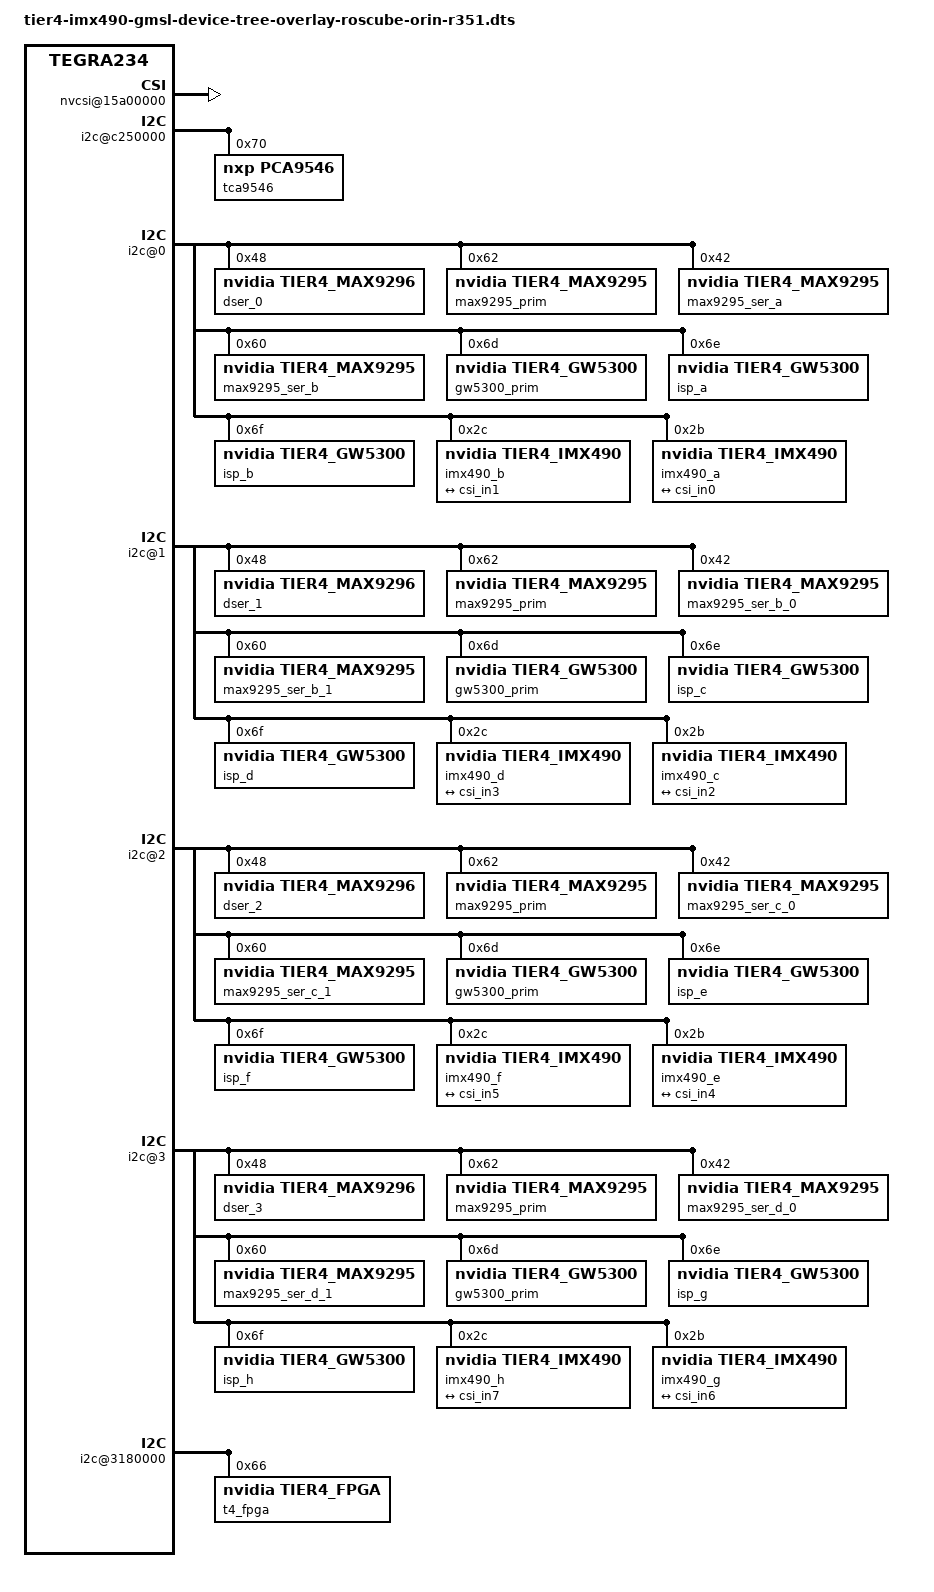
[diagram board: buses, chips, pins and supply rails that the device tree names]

/dts-v1/;
/plugin/;
 
/ {
    overlay-name = "TIERIV IMX490 GMSL2 Camera Device Tree Overlay";
    jetson-header-name = "Jetson AGX CSI Connector";
    compatible = "nvidia,p3737-0000+p3701-0000", "nvidia,tegra234", "nvidia,tegra23x";

// ----- for VI -----

  fragment@1{
    target-path = "/tegra-capture-vi";
    __overlay__ {
      status = "okay";
      num-channels = <0x08>;
    };
  };

//diff view
  fragment@2{
    target-path = "/tegra-capture-vi/ports/port@0";
    __overlay__ {
      status = "okay";
    };
  };

  fragment@3{
    // target = vi_in0;
    target-path = "/tegra-capture-vi/ports/port@0/endpoint";
    __overlay__ {
      status = "okay";
      port-index = <0>;
      vc-id = <0>;
      bus-width = <4>;
      retmote-endpoint = <&csi_out0>;
    };
  };

  fragment@4{
    target-path = "/tegra-capture-vi/ports/port@1";
    __overlay__ {
      status = "okay";
    };
  };

  fragment@5{
    // target = vi_in1;
    target-path = "/tegra-capture-vi/ports/port@1/endpoint";
    __overlay__ {
      status = "okay";
      vc-id = <1>;
      port-index = <0>;
      bus-width = <4>;
      retmote-endpoint = <&csi_out1>;
    };
  };

  fragment@6{
    target-path = "/tegra-capture-vi/ports/port@2";
    __overlay__ {
      status = "okay";
    };
  };

  fragment@7{
    // target = vi_in2;
    target-path = "/tegra-capture-vi/ports/port@2/endpoint";
    __overlay__ {
      status = "okay";
      vc-id = <0>;
      port-index = <2>;
      bus-width = <4>;
      retmote-endpoint = <&csi_out2>;
    };
  };

  fragment@8 {
    target-path = "/tegra-capture-vi/ports/port@3";
    __overlay__ {
      status = "okay";
    };
  };

  fragment@9 {
    // target = vi_in3;
    target-path = "/tegra-capture-vi/ports/port@3/endpoint";
    __overlay__ {
      status = "okay";
      vc-id = <1>;
      port-index = <2>;
      bus-width = <4>;
      retmote-endpoint = <&csi_out3>;
    };
  };

  fragment@10 {
    target-path = "/tegra-capture-vi/ports/port@4";
    __overlay__ {
      status = "okay";
    };
  };

  fragment@11 {
    // target = vi_in4;
    target-path = "/tegra-capture-vi/ports/port@4/endpoint";
    __overlay__ {
      status = "okay";
      vc-id = <0>;
      port-index = <4>;
      bus-width = <4>;
      retmote-endpoint = <&csi_out4>;
    };
  };

  fragment@12 {
    target-path = "/tegra-capture-vi/ports/port@5";
    __overlay__ {
      status = "okay";
    };
  };

  fragment@13 {
    // target = vi_in5;
    target-path = "/tegra-capture-vi/ports/port@5/endpoint";
    __overlay__ {
      status = "okay";
      vc-id = <1>;
      port-index = <4>;
      bus-width = <4>;
      retmote-endpoint = <&csi_out5>;
    };
  };

  fragment@14 {
    target-path = "/tegra-capture-vi/ports/port@6";
    __overlay__ {
      status = "okay";
    };
  };

  fragment@15 {
    // target = vi_in6;
    target-path = "/tegra-capture-vi/ports/port@6/endpoint";
    __overlay__ {
      status = "okay";
      vc-id = <0>;
      port-index = <5>;
      bus-width = <4>;
      retmote-endpoint = <&csi_out6>;
    };
  };

  fragment@16 {
    target-path = "/tegra-capture-vi/ports/port@7";
    __overlay__ {
      status = "okay";
    };
  };

  fragment@17 {
    // target = vi_in7;
    target-path = "/tegra-capture-vi/ports/port@7/endpoint";
    __overlay__ {
      status = "okay";
      vc-id = <1>;
      port-index = <5>;
      bus-width = <4>;
      retmote-endpoint = <&csi_out7>;
    };
  };

// -----   NVCSI  ------

// channel@0

  fragment@20 {
    target-path = "/host1x@13e00000/nvcsi@15a00000/channel@0";
    __overlay__ {
      status = "okay";
    };
  };

  fragment@21 {
    target-path = "/host1x@13e00000/nvcsi@15a00000/channel@0/ports/port@0";
    __overlay__ {
      status = "okay";
    };
  };
  fragment@22 {
    // target = csi_in0
    target-path = "/host1x@13e00000/nvcsi@15a00000/channel@0/ports/port@0/endpoint@0";
    __overlay__ {
      status = "okay";
      port-index = <0>;
      bus-width = <4>;
      remote-endpoint = <&imx490_out0>;
    };
  };

  fragment@23 {
    target-path = "/host1x@13e00000/nvcsi@15a00000/channel@0/ports/port@1";
    __overlay__ {
      status = "okay";
    };
  };

  fragment@24 {
    // target = csi_out0
    target-path = "/host1x@13e00000/nvcsi@15a00000/channel@0/ports/port@1/endpoint@1";
    __overlay__ {
      status = "okay";
      remote-endpoint = <&vi_in0>;
    };
  };

// channel@1

  fragment@25 {
    target-path = "/host1x@13e00000/nvcsi@15a00000/channel@1";
    __overlay__ {
      status = "okay";
    };
  };

  fragment@26 {
    target-path = "/host1x@13e00000/nvcsi@15a00000/channel@1/ports/port@0";
    __overlay__ {
      status = "okay";
    };
  };

  fragment@27 {
    // target = csi_in1
    target-path = "/host1x@13e00000/nvcsi@15a00000/channel@1/ports/port@0/endpoint@0";
    __overlay__ {
      status = "okay";
      port-index = <0x00>;
      bus-width = <4>;
      remote-endpoint = <&imx490_out1>;
    };
  };

  fragment@28 {
    // target = csi_out1
    target-path = "/host1x@13e00000/nvcsi@15a00000/channel@1/ports/port@1/endpoint@1";
    __overlay__ {
      status = "okay";
      remote-endpoint = <&vi_in1>;
    };
  };

// channel@2

  fragment@29 {
    target-path = "/host1x@13e00000/nvcsi@15a00000/channel@2";
    __overlay__ {
      status = "okay";
    };
  };

  fragment@30 {
    target-path = "/host1x@13e00000/nvcsi@15a00000/channel@2/ports/port@0";
    __overlay__ {
      status = "okay";
    };
  };

  fragment@31 {
    // target = csi_in2
    target-path = "/host1x@13e00000/nvcsi@15a00000/channel@2/ports/port@0/endpoint@0";
    __overlay__ {
      status = "okay";
      port-index = <2>;
      bus-width = <4>;
      remote-endpoint = <&imx490_out2>;
    };
  };

  fragment@32 {
    target-path = "/host1x@13e00000/nvcsi@15a00000/channel@2/ports/port@1";
    __overlay__ {
      status = "okay";
    };
  };

  fragment@33 {
    // target = csi_out2
    target-path = "/host1x@13e00000/nvcsi@15a00000/channel@2/ports/port@1/endpoint@1";
    __overlay__ {
      status = "okay";
      remote-endpoint = <&vi_in2>;
    };
  };

// channel@3

  fragment@34 {
    target-path = "/host1x@13e00000/nvcsi@15a00000/channel@3";
    __overlay__ {
      status = "okay";
    };
  };

  fragment@35 {
    target-path = "/host1x@13e00000/nvcsi@15a00000/channel@3/ports/port@0";
    __overlay__ {
      status = "okay";
    };
  };

  fragment@36 {
    // target = csi_in3
    target-path = "/host1x@13e00000/nvcsi@15a00000/channel@3/ports/port@0/endpoint@0";
    __overlay__ {
      status = "okay";
      port-index = <2>;
      bus-width = <4>;
      remote-endpoint = <&imx490_out3>;
    };
  };

  fragment@37 {
    target-path = "/host1x@13e00000/nvcsi@15a00000/channel@3/ports/port@1";
    __overlay__ {
      status = "okay";
    };
  };

  fragment@38 {
    // target = csi_out3
    target-path = "/host1x@13e00000/nvcsi@15a00000/channel@3/ports/port@1/endpoint@1";
    __overlay__ {
      status = "okay";
      remote-endpoint = <&vi_in3>;
    };
  };

// channel@4

  fragment@39 {
    target-path = "/host1x@13e00000/nvcsi@15a00000/channel@4";
    __overlay__ {
      status = "okay";
    };
  };

  fragment@40 {
    target-path = "/host1x@13e00000/nvcsi@15a00000/channel@4/ports/port@0";
    __overlay__ {
      status = "okay";
    };
  };

  fragment@41 {
    // target = csi_in4
    target-path = "/host1x@13e00000/nvcsi@15a00000/channel@4/ports/port@0/endpoint@0";
    __overlay__ {
      status = "okay";
      port-index = <4>;
      bus-width = <4>;
      remote-endpoint = <&imx490_out4>;
    };
  };

  fragment@42 {
    target-path = "/host1x@13e00000/nvcsi@15a00000/channel@4/ports/port@1";
    __overlay__ {
      status = "okay";
    };
  };

  fragment@43 {
    // target = csi_out4
    target-path = "/host1x@13e00000/nvcsi@15a00000/channel@4/ports/port@1/endpoint@1";
    __overlay__ {
      status = "okay";
      remote-endpoint = <&vi_in4>;
    };
  };

// channel@5

  fragment@44 {
    target-path = "/host1x@13e00000/nvcsi@15a00000/channel@5";
    __overlay__ {
      status = "okay";
    };
  };

  fragment@45 {
    target-path = "/host1x@13e00000/nvcsi@15a00000/channel@5/ports/port@0";
    __overlay__ {
      status = "okay";
    };
  };

  fragment@46 {
    // target = csi_in5
    target-path = "/host1x@13e00000/nvcsi@15a00000/channel@5/ports/port@0/endpoint@0";
    __overlay__ {
      status = "okay";
      port-index = <4>;
      bus-width = <4>;
      remote-endpoint = <&imx490_out5>;
    };
  };

  fragment@47 {
    target-path = "/host1x@13e00000/nvcsi@15a00000/channel@5/ports/port@1";
    __overlay__ {
      status = "okay";
    };
  };

  fragment@48 {
    // target = csi_out5
    target-path = "/host1x@13e00000/nvcsi@15a00000/channel@5/ports/port@1/endpoint@1";
    __overlay__ {
      status = "okay";
      remote-endpoint = <&vi_in5>;
    };
  };

// channel@6

  fragment@49 {
    // target = csi_in6
    target-path = "/host1x@13e00000/nvcsi@15a00000/channel@6/ports/port@0/endpoint@0";
    __overlay__ {
      status = "okay";
      port-index = <6>;
      bus-width = <4>;
      remote-endpoint = <&imx490_out6>;
    };
  };

  fragment@50 {
    target-path = "/host1x@13e00000/nvcsi@15a00000/channel@6/ports/port@1";
    __overlay__ {
      status = "okay";
    };                                      	
  };

  fragment@51 {
    // target = csi_out6
    target-path = "/host1x@13e00000/nvcsi@15a00000/channel@6/ports/port@1/endpoint@1";
    __overlay__ {
      status = "okay";
      remote-endpoint = <&vi_in6>;
    };
  };

// channel@7

  fragment@52 {
    // target = csi_in7
    target-path = "/host1x@13e00000/nvcsi@15a00000/channel@7/ports/port@0/endpoint@0";
    __overlay__ {
      status = "okay";
      port-index = <6>;
      bus-width = <4>;
      remote-endpoint = <&imx490_out7>;
    };
  };

  fragment@53 {
    target-path = "/host1x@13e00000/nvcsi@15a00000/channel@7/ports/port@1";
    __overlay__ {
      status = "okay";
    };
  };

  fragment@54 {
    // target = csi_out7
    target-path = "/host1x@13e00000/nvcsi@15a00000/channel@7/ports/port@1/endpoint@1";
    __overlay__ {
      status = "okay";
      remote-endpoint = <&vi_in7>;
    };
  };

  fragment@55 {
    target-path = "/host1x@13e00000/nvcsi@15a00000";
    __overlay__ {
      status = "okay";
      num-channels = <8>;
    };
  };

 fragment@56{
   target-path = "/host1x@13e00000/vi1@14c00000";
   __overlay__ {
     status = "okay";
   };
 };

  fragment@57{
    target-path = "/host1x@13e00000/vi0@15c00000";
    __overlay__ {
      status = "okay";
    };
  };



// ----- Camera modules -----

  fragment@70 {
    //tcp
    target-path = "/tegra-camera-platform";
    __overlay__ {
      status = "okay";
      num_csi_lanes = <16>;
      max_lane_speed = <4000000>;
    };
  };

  fragment@71 {
    target-path = "/tegra-camera-platform/modules/module0";
    __overlay__ {
      badge = "imx490_rear";
      position = "rear";
      orientation = "1";
      status = "okay";
    };
  };

  fragment@72 {
    target-path = "/tegra-camera-platform/modules/module0/drivernode0";
    __overlay__ {
      status = "okay";
      pcl_id = "v4l2_sensor";
      devname = "imx490 30-002b";
      proc-device-tree = "/proc/device-tree/i2c@c250000/tca9546@70/i2c@0/imx490_a@2b";
    };
  };

  fragment@73 {
    target-path = "/tegra-camera-platform/modules/module1";
    __overlay__ {
      badge = "imx490_front";
      position = "front";
      orientation = "1";
      status = "okay";
    };
  };

  fragment@74 {
    target-path = "/tegra-camera-platform/modules/module1/drivernode0";
    __overlay__ {
      status = "okay";
      pcl_id = "v4l2_sensor";
      devname = "imx490 30-002c";
      proc-device-tree = "/proc/device-tree/i2c@c250000/tca9546@70/i2c@0/imx490_b@2c";
    };
  };

  fragment@75 {
    target-path = "/tegra-camera-platform/modules/module2";
    __overlay__ {
      badge = "imx490_topright";
      position = "topright";
      orientation = "1";
      status = "okay";
    };
  };

  fragment@76 {
    target-path = "/tegra-camera-platform/modules/module2/drivernode0";
    __overlay__ {
      status = "okay";
      pcl_id = "v4l2_sensor";
      devname = "imx490 31-002b";
      proc-device-tree = "/proc/device-tree/i2c@c250000/tca9546@70/i2c@1/imx490_c@2b";
    };
  };

  fragment@77 {
    target-path = "/tegra-camera-platform/modules/module3";
    __overlay__ {
      badge = "imx490_bottomright";
      position = "bottomright";
      orientation = "1";
      status = "okay";
    };
  };

  fragment@78 {
    target-path = "/tegra-camera-platform/modules/module3/drivernode0";
    __overlay__ {
      status = "okay";
      pcl_id = "v4l2_sensor";
      devname = "imx490 31-002c";
      proc-device-tree = "/proc/device-tree/i2c@c250000/tca9546@70/i2c@1/imx490_d@2c";
    };
  };

  fragment@79 {
    target-path = "/tegra-camera-platform/modules/module4";
    __overlay__ {
      badge = "imx490_topleft";
      position = "topleft";
      orientation = "1";
      status = "okay";
    };
  };

  fragment@80 {
    target-path = "/tegra-camera-platform/modules/module4/drivernode0";
    __overlay__ {
      status = "okay";
      pcl_id = "v4l2_sensor";
      devname = "imx490 32-002b";
      proc-device-tree = "/proc/device-tree/i2c@c250000/tca9546@70/i2c@2/imx490_e@2b";
    };
  };

  fragment@81 {
    target-path = "/tegra-camera-platform/modules/module5";
    __overlay__ {
      badge = "imx490_centerright";
      position = "centerright";
      orientation = "1";
      status = "okay";
    };
  };

  fragment@82 {
    target-path = "/tegra-camera-platform/modules/module5/drivernode0";
    __overlay__ {
      status = "okay";
      pcl_id = "v4l2_sensor";
      devname = "imx490 32-002c";
      proc-device-tree = "/proc/device-tree/i2c@c250000/tca9546@70/i2c@2/imx490_f@2c";
    };
  };

  fragment@83 {
    target-path = "/tegra-camera-platform/modules/module6";
    __overlay__ {
      badge = "imx490_centerleft";
      position = "centerleft";
      orientation = "1";
      status = "okay";
    };
  };

  fragment@84 {
    target-path = "/tegra-camera-platform/modules/module6/drivernode0";
    __overlay__ {
      status = "okay";
      pcl_id = "v4l2_sensor";
      devname = "imx490 33-002b";
      proc-device-tree = "/proc/device-tree/i2c@c250000/tca9546@70/i2c@2/imx490_g@2b";
    };
  };

  fragment@85 {
    target-path = "/tegra-camera-platform/modules/module7";
    __overlay__ {
      badge = "imx490_bottomleftt";
      position = "bottomleft";
      orientation = "1";
      status = "okay";
    };
  };

  fragment@86 {
    target-path = "/tegra-camera-platform/modules/module6/drivernode0";
    __overlay__ {
      status = "okay";
      pcl_id = "v4l2_sensor";
      devname = "imx490 33-002c";
      proc-device-tree = "/proc/device-tree/i2c@c250000/tca9546@70/i2c@2/imx490_h@2c";
    };
  };


  fragment@90 {
    // declare the i2c switch for the four i2c clients
    target-path = "/i2c@c250000";
    __overlay__ {
      status = "okay";
      tca9546@70 {
        #address-cells = <1>;
        #size-cells = <0>;
        compatible = "nxp,pca9546";
        reg = <0x70>;
        skip_mux_detect = "yes";
        force_bus_start = <0x1e>;
        i2c@0 {};
        i2c@1 {};
        i2c@2 {};
        i2c@3 {};
      };
    };
  };

  fragment@91{
    //cami2c/i2c@0
    target-path = "/i2c@c250000/tca9546@70/i2c@0";
    __overlay__ {
      i2c-mux,deselect-on-exit;
      #address-cells = <1>;
      #size-cells = <0>;
      status = "okay";

      reg = <0>;

      dser_0: max9296@48 {
        compatible = "nvidia,tier4_max9296";
        reg = <0x48>;
        status = "okay";
        csi-mode = "2x4";
        max-src = <2>;
        //reset-gpios = <&tegra_main_gpio CAM0_PWDN GPIO_ACTIVE_HIGH>;
        //reset-gpios = <&tegra_main_gpio 0x3E 0x0>;
      };

      max9295_prim@62 {
        compatible = "nvidia,tier4_max9295";
        status = "okay";
        reg = <0x62>;
        is-prim-ser;
      };
      max9295_ser_a: max9295_a@42 {
        compatible = "nvidia,tier4_max9295";
        reg = <0x42>;
        nvidia,gmsl-dser-device = <&dser_0>;
      };

      max9295_ser_b: max9295_b@60 {
        compatible = "nvidia,tier4_max9295";
        status = "okay";
        reg = <0x60>;
        nvidia,gmsl-dser-device = <&dser_0>;
      };

      gw5300_prim@6d {
          compatible = "nvidia,tier4_gw5300";
          reg = <0x6d>;
          is-prim-isp;
      };

      isp_a: gw5300_a@6e {
          compatible = "nvidia,tier4_gw5300";
          reg = <0x6e>;
      };

      isp_b: gw5300_b@6f {
          compatible = "nvidia,tier4_gw5300";
          reg = <0x6f>;
      };

      imx490_b@2c {
        compatible = "nvidia,tier4_imx490";
        def-addr = <0x1a>;
        // clocks = <&bpmp_clks 36>, <&bpmp_clks 36>;
        clock-names = "extperiph1", "pllp_grtba";
        mclk = "extperiph1";
        nvidia,isp-device = <&isp_b>;           // for C2 camera
        nvidia,gmsl-ser-device = <&ser>;
        nvidia,gmsl-dser-device = <&dser>;
        nvidia,fpga-device  = <&t4_fpga>;

        reg = <0x2c>;

        /* Physical dimensions of sensor */
        physical_w = "15.0";
        physical_h = "12.5";
        reg_mux = <0>;


        sensor_model ="imx490";

        fsync-mode = "false";

        distortion-correction = "false";

        auto-exposure = "true";

        /* Defines number of frames to be dropped by driver internally after applying */
        /* sensor crop settings. Some sensors send corrupt frames after applying */
        /* crop co-ordinates */
        post_crop_frame_drop = "0";

        /* Convert Gain to unit of dB (decibel) befor passing to kernel driver */
        use_decibel_gain = "true";

        /* enable CID_SENSOR_MODE_ID for sensor modes selection */
        use_sensor_mode_id = "true";

        mode0 {/*mode IMX490_MODE_2880X1860_CROP_30FPS*/
          mclk_khz = "24000";
          num_lanes = "4";
          tegra_sinterface = "serial_a";
          vc_id = "1";
          discontinuous_clk = "no";
          dpcm_enable = "false";
          cil_settletime = "0";
          dynamic_pixel_bit_depth = "16";
          csi_pixel_bit_depth = "16";
          mode_type = "yuv";
          pixel_phase = "uyvy";
        
          active_w = "2880";
          active_h = "1860";
          readout_orientation = "0";
          line_length = "2250";
          inherent_gain = "1";
          pix_clk_hz = "160704000";
          serdes_pix_clk_hz = "375000000";    // MIPI CSI clock 1500Mhz

          gain_factor = "5";
          min_gain_val = "0";                         /* dB */
          max_gain_val = "300";                       /* dB */
          step_gain_val = "1";                        /* 0.3 */
          default_gain = "0";
          min_hdr_ratio = "1";
          max_hdr_ratio = "1";
          framerate_factor = "1000000";
          min_framerate = "0";
          max_framerate = "40954095";
          step_framerate = "1";
          default_framerate = "0";
          exposure_factor = "1000000";
          min_exp_time = "0";                         /* us 1 line */
          max_exp_time = "40954095";
          step_exp_time = "1";
          default_exp_time = "0";                 /* us */
          embedded_metadata_height = "0";
        };

        ports {
          #address-cells = <1>;
          #size-cells = <0>;
          port@0 {
            reg = <0>;
            imx490_out1: endpoint {
              vc-id = <1>;
              port-index = <0>;
              bus-width = <4>;
              remote-endpoint = <&csi_in1>;
            };
          };
        };
        gmsl-link {
          src-csi-port = "b";     /* Port at which sensor is connected to its serializer device. */
          dst-csi-port = "a";     /* Destination CSI port on the Jetson side, connected at deserializer. */
           serdes-csi-link = "b";  /* GMSL link sensor/serializer connected */
          csi-mode = "1x4";       /*  to sensor CSI mode. */
          st-vc = <0>;            /* Sensor source default VC ID: 0 unless overridden by sensor. */
          vc-id = <1>;            /* Destination VC ID, assigned to sensor stream by deserializer. */
          num-lanes = <4>;        /* Number of CSI lanes used. */
          streams = "ued-u1","yuv8"; /* Types of streams sensor is streaming. */
        };
      };
      imx490_a@2b {
        compatible = "nvidia,tier4_imx490";
        def-addr = <0x1a>;
        // clocks = <&bpmp_clks 36>, <&bpmp_clks 36>;
        clock-names = "extperiph1", "pllp_grtba";
        mclk = "extperiph1";
        nvidia,isp-device = <&isp_a>;           // for C2 camera
        nvidia,gmsl-ser-device = <&ser>;
        nvidia,gmsl-dser-device = <&dser>;
        nvidia,fpga-device  = <&t4_fpga>;

        reg = <0x2b>;

        /* Physical dimensions of sensor */
        physical_w = "15.0";
        physical_h = "12.5";
        reg_mux = <0>;


        sensor_model ="imx490";

        fsync-mode = "false";

        distortion-correction = "false";

        auto-exposure = "true";

        /* Defines number of frames to be dropped by driver internally after applying */
        /* sensor crop settings. Some sensors send corrupt frames after applying */
        /* crop co-ordinates */
        post_crop_frame_drop = "0";

        /* Convert Gain to unit of dB (decibel) befor passing to kernel driver */
        use_decibel_gain = "true";

        /* enable CID_SENSOR_MODE_ID for sensor modes selection */
        use_sensor_mode_id = "true";

        mode0 {/*mode IMX490_MODE_2880X1860_CROP_30FPS*/
          mclk_khz = "24000";
          num_lanes = "4";
          tegra_sinterface = "serial_a";
          vc_id = "0";
          discontinuous_clk = "no";
          dpcm_enable = "false";
          cil_settletime = "0";
          dynamic_pixel_bit_depth = "16";
          csi_pixel_bit_depth = "16";
          mode_type = "yuv";
          pixel_phase = "uyvy";
        
          active_w = "2880";
          active_h = "1860";
          readout_orientation = "0";
          line_length = "2250";
          inherent_gain = "1";
          pix_clk_hz = "160704000";
          serdes_pix_clk_hz = "375000000";    // MIPI CSI clock 1500Mhz

          gain_factor = "5";
          min_gain_val = "0";                         /* dB */
          max_gain_val = "300";                       /* dB */
          step_gain_val = "1";                        /* 0.3 */
          default_gain = "0";
          min_hdr_ratio = "1";
          max_hdr_ratio = "1";
          framerate_factor = "1000000";
          min_framerate = "0";
          max_framerate = "40954095";
          step_framerate = "1";
          default_framerate = "0";
          exposure_factor = "1000000";
          min_exp_time = "0";                         /* us 1 line */
          max_exp_time = "40954095";
          step_exp_time = "1";
          default_exp_time = "0";                 /* us */
          embedded_metadata_height = "0";
        };

        ports {
          #address-cells = <1>;
          #size-cells = <0>;
          port@0 {
            reg = <0>;
            imx490_out0: endpoint {
              vc-id = <0>;
              port-index = <0>;
              bus-width = <4>;
              remote-endpoint = <&csi_in0>;
            };
          };
        };
        gmsl-link {
          src-csi-port = "b";     /* Port at which sensor is connected to its serializer device. */
          dst-csi-port = "a";     /* Destination CSI port on the Jetson side, connected at deserializer. */
          serdes-csi-link = "a";  /* GMSL link sensor/serializer connected */
          csi-mode = "1x4";       /*  to sensor CSI mode. */
          st-vc = <0>;            /* Sensor source default VC ID: 0 unless overridden by sensor. */
          vc-id = <0>;            /* Destination VC ID, assigned to sensor stream by deserializer. */
          num-lanes = <4>;        /* Number of CSI lanes used. */
          streams = "ued-u1","yuv8"; /* Types of streams sensor is streaming. */
        };
      };
    };
  };
  fragment@92{
    //cami2c/i2c@1
    target-path = "/i2c@c250000/tca9546@70/i2c@1";
    __overlay__ {
      i2c-mux,deselect-on-exit;
      #address-cells = <1>;
      #size-cells = <0>;
      status = "okay";

      reg = <1>;

      dser_1: max9296@48 {
        compatible = "nvidia,tier4_max9296";
        reg = <0x48>;
        status = "okay";
        csi-mode = "2x4";
        max-src = <2>;
        //reset-gpios = <&tegra_main_gpio CAM0_PWDN GPIO_ACTIVE_HIGH>;
        //reset-gpios = <&tegra_main_gpio 0x3E 0x0>;
      };

      max9295_prim@62 {
        compatible = "nvidia,tier4_max9295";
        status = "okay";
        reg = <0x62>;
        is-prim-ser;
      };
      max9295_ser_b_0: max9295_a@42 {
        compatible = "nvidia,tier4_max9295";
        reg = <0x42>;
        nvidia,gmsl-dser-device = <&dser_1>;
      };

      max9295_ser_b_1: max9295_b@60 {
        compatible = "nvidia,tier4_max9295";
        status = "okay";
        reg = <0x60>;
        nvidia,gmsl-dser-device = <&dser_1>;
      };

      gw5300_prim@6d {
          compatible = "nvidia,tier4_gw5300";
          reg = <0x6d>;
          is-prim-isp;
      };

      isp_c: gw5300_a@6e {
          compatible = "nvidia,tier4_gw5300";
          reg = <0x6e>;
      };

      isp_d: gw5300_b@6f {
          compatible = "nvidia,tier4_gw5300";
          reg = <0x6f>;
      };

      imx490_d@2c {
        compatible = "nvidia,tier4_imx490";
        def-addr = <0x1a>;
        // clocks = <&bpmp_clks 36>, <&bpmp_clks 36>;
        clock-names = "extperiph1", "pllp_grtba";
        mclk = "extperiph1";
        nvidia,isp-device = <&isp_d>;           // for C2 camera
        nvidia,gmsl-ser-device = <&ser>;
        nvidia,gmsl-dser-device = <&dsera>;
        nvidia,fpga-device  = <&t4_fpga>;

        reg = <0x2c>;

        /* Physical dimensions of sensor */
        physical_w = "15.0";
        physical_h = "12.5";
        reg_mux = <1>;


        sensor_model ="imx490";

        fsync-mode = "false";

        distortion-correction = "false";

        auto-exposure = "true";

        /* Defines number of frames to be dropped by driver internally after applying */
        /* sensor crop settings. Some sensors send corrupt frames after applying */
        /* crop co-ordinates */
        post_crop_frame_drop = "0";

        /* Convert Gain to unit of dB (decibel) befor passing to kernel driver */
        use_decibel_gain = "true";

        /* enable CID_SENSOR_MODE_ID for sensor modes selection */
        use_sensor_mode_id = "true";

        mode0 {/*mode IMX490_MODE_2880X1860_CROP_30FPS*/
          mclk_khz = "24000";
          num_lanes = "4";
          tegra_sinterface = "serial_c";
          vc_id = "1";
          discontinuous_clk = "no";
          dpcm_enable = "false";
          cil_settletime = "0";
          dynamic_pixel_bit_depth = "16";
          csi_pixel_bit_depth = "16";
          mode_type = "yuv";
          pixel_phase = "uyvy";
        
          active_w = "2880";
          active_h = "1860";
          readout_orientation = "0";
          line_length = "2250";
          inherent_gain = "1";
          pix_clk_hz = "160704000";
          serdes_pix_clk_hz = "375000000";    // MIPI CSI clock 1500Mhz

          gain_factor = "5";
          min_gain_val = "0";                         /* dB */
          max_gain_val = "300";                       /* dB */
          step_gain_val = "1";                        /* 0.3 */
          default_gain = "0";
          min_hdr_ratio = "1";
          max_hdr_ratio = "1";
          framerate_factor = "1000000";
          min_framerate = "0";
          max_framerate = "40954095";
          step_framerate = "1";
          default_framerate = "0";
          exposure_factor = "1000000";
          min_exp_time = "0";                         /* us 1 line */
          max_exp_time = "40954095";
          step_exp_time = "1";
          default_exp_time = "0";                 /* us */
          embedded_metadata_height = "0";
        };

        ports {
          #address-cells = <1>;
          #size-cells = <0>;
          port@0 {
            reg = <0>;
            imx490_out3: endpoint {
              vc-id = <1>;
              port-index = <2>;
              bus-width = <4>;
              remote-endpoint = <&csi_in3>;
            };
          };
        };
        gmsl-link {
          src-csi-port = "b";     /* Port at which sensor is connected to its serializer device. */
          dst-csi-port = "a";     /* Destination CSI port on the Jetson side, connected at deserializer. */
           serdes-csi-link = "b";  /* GMSL link sensor/serializer connected */
          csi-mode = "1x4";       /*  to sensor CSI mode. */
          st-vc = <0>;            /* Sensor source default VC ID: 0 unless overridden by sensor. */
          vc-id = <1>;            /* Destination VC ID, assigned to sensor stream by deserializer. */
          num-lanes = <4>;        /* Number of CSI lanes used. */
          streams = "ued-u1","yuv8"; /* Types of streams sensor is streaming. */
        };
      };
      imx490_c@2b {
        compatible = "nvidia,tier4_imx490";
        def-addr = <0x1a>;
        // clocks = <&bpmp_clks 36>, <&bpmp_clks 36>;
        clock-names = "extperiph1", "pllp_grtba";
        mclk = "extperiph1";
        nvidia,isp-device = <&isp_c>;           // for C2 camera
        nvidia,gmsl-ser-device = <&ser>;
        nvidia,gmsl-dser-device = <&dsera>;
        nvidia,fpga-device  = <&t4_fpga>;

        reg = <0x2b>;

        /* Physical dimensions of sensor */
        physical_w = "15.0";
        physical_h = "12.5";
        reg_mux = <1>;


        sensor_model ="imx490";

        fsync-mode = "false";

        distortion-correction = "false";

        auto-exposure = "true";

        /* Defines number of frames to be dropped by driver internally after applying */
        /* sensor crop settings. Some sensors send corrupt frames after applying */
        /* crop co-ordinates */
        post_crop_frame_drop = "0";

        /* Convert Gain to unit of dB (decibel) befor passing to kernel driver */
        use_decibel_gain = "true";

        /* enable CID_SENSOR_MODE_ID for sensor modes selection */
        use_sensor_mode_id = "true";

        mode0 {/*mode IMX490_MODE_2880X1860_CROP_30FPS*/
          mclk_khz = "24000";
          num_lanes = "4";
          tegra_sinterface = "serial_c";
          vc_id = "0";
          discontinuous_clk = "no";
          dpcm_enable = "false";
          cil_settletime = "0";
          dynamic_pixel_bit_depth = "16";
          csi_pixel_bit_depth = "16";
          mode_type = "yuv";
          pixel_phase = "uyvy";
        
          active_w = "2880";
          active_h = "1860";
          readout_orientation = "0";
          line_length = "2250";
          inherent_gain = "1";
          pix_clk_hz = "160704000";
          serdes_pix_clk_hz = "375000000";    // MIPI CSI clock 1500Mhz

          gain_factor = "5";
          min_gain_val = "0";                         /* dB */
          max_gain_val = "300";                       /* dB */
          step_gain_val = "1";                        /* 0.3 */
          default_gain = "0";
          min_hdr_ratio = "1";
          max_hdr_ratio = "1";
          framerate_factor = "1000000";
          min_framerate = "0";
          max_framerate = "40954095";
          step_framerate = "1";
          default_framerate = "0";
          exposure_factor = "1000000";
          min_exp_time = "0";                         /* us 1 line */
          max_exp_time = "40954095";
          step_exp_time = "1";
          default_exp_time = "0";                 /* us */
          embedded_metadata_height = "0";
        };

        ports {
          #address-cells = <1>;
          #size-cells = <0>;
          port@0 {
            reg = <0>;
            imx490_out2: endpoint {
              vc-id = <0>;
              port-index = <2>;
              bus-width = <4>;
              remote-endpoint = <&csi_in2>;
            };
          };
        };
        gmsl-link {
          src-csi-port = "b";     /* Port at which sensor is connected to its serializer device. */
          dst-csi-port = "a";     /* Destination CSI port on the Jetson side, connected at deserializer. */
          serdes-csi-link = "a";  /* GMSL link sensor/serializer connected */
          csi-mode = "1x4";       /*  to sensor CSI mode. */
          st-vc = <0>;            /* Sensor source default VC ID: 0 unless overridden by sensor. */
          vc-id = <0>;            /* Destination VC ID, assigned to sensor stream by deserializer. */
          num-lanes = <4>;        /* Number of CSI lanes used. */
          streams = "ued-u1","yuv8"; /* Types of streams sensor is streaming. */
        };
      };
    };
  };
  fragment@93{
    //cami2c/i2c@2
    target-path = "/i2c@c250000/tca9546@70/i2c@2";
    __overlay__ {
      i2c-mux,deselect-on-exit;
      #address-cells = <1>;
      #size-cells = <0>;
      status = "okay";

      reg = <2>;

      dser_2: max9296@48 {
        compatible = "nvidia,tier4_max9296";
        reg = <0x48>;
        status = "okay";
        csi-mode = "2x4";
        max-src = <2>;
        //reset-gpios = <&tegra_main_gpio CAM0_PWDN GPIO_ACTIVE_HIGH>;
        //reset-gpios = <&tegra_main_gpio 0x3E 0x0>;
      };

      max9295_prim@62 {
        compatible = "nvidia,tier4_max9295";
        status = "okay";
        reg = <0x62>;
        is-prim-ser;
      };
      max9295_ser_c_0: max9295_a@42 {
        compatible = "nvidia,tier4_max9295";
        reg = <0x42>;
        nvidia,gmsl-dser-device = <&dser_2>;
      };

      max9295_ser_c_1: max9295_b@60 {
        compatible = "nvidia,tier4_max9295";
        status = "okay";
        reg = <0x60>;
        nvidia,gmsl-dser-device = <&dser_2>;
      };

      gw5300_prim@6d {
          compatible = "nvidia,tier4_gw5300";
          reg = <0x6d>;
          is-prim-isp;
      };

      isp_e: gw5300_a@6e {
          compatible = "nvidia,tier4_gw5300";
          reg = <0x6e>;
      };

      isp_f: gw5300_b@6f {
          compatible = "nvidia,tier4_gw5300";
          reg = <0x6f>;
      };

      imx490_f@2c {
        compatible = "nvidia,tier4_imx490";
        def-addr = <0x1a>;
        // clocks = <&bpmp_clks 36>, <&bpmp_clks 36>;
        clock-names = "extperiph1", "pllp_grtba";
        mclk = "extperiph1";
        nvidia,isp-device = <&isp_f>;           // for C2 camera
        nvidia,gmsl-ser-device = <&ser>;
        nvidia,gmsl-dser-device = <&dserb>;
        nvidia,fpga-device  = <&t4_fpga>;

        reg = <0x2c>;

        /* Physical dimensions of sensor */
        physical_w = "15.0";
        physical_h = "12.5";
        reg_mux = <2>;


        sensor_model ="imx490";

        fsync-mode = "false";

        distortion-correction = "false";

        auto-exposure = "true";

        /* Defines number of frames to be dropped by driver internally after applying */
        /* sensor crop settings. Some sensors send corrupt frames after applying */
        /* crop co-ordinates */
        post_crop_frame_drop = "0";

        /* Convert Gain to unit of dB (decibel) befor passing to kernel driver */
        use_decibel_gain = "true";

        /* enable CID_SENSOR_MODE_ID for sensor modes selection */
        use_sensor_mode_id = "true";

        mode0 {/*mode IMX490_MODE_2880X1860_CROP_30FPS*/
          mclk_khz = "24000";
          num_lanes = "4";
          tegra_sinterface = "serial_e";
          vc_id = "1";
          discontinuous_clk = "no";
          dpcm_enable = "false";
          cil_settletime = "0";
          dynamic_pixel_bit_depth = "16";
          csi_pixel_bit_depth = "16";
          mode_type = "yuv";
          pixel_phase = "uyvy";
        
          active_w = "2880";
          active_h = "1860";
          readout_orientation = "0";
          line_length = "2250";
          inherent_gain = "1";
          pix_clk_hz = "160704000";
          serdes_pix_clk_hz = "375000000";    // MIPI CSI clock 1500Mhz

          gain_factor = "5";
          min_gain_val = "0";                         /* dB */
          max_gain_val = "300";                       /* dB */
          step_gain_val = "1";                        /* 0.3 */
          default_gain = "0";
          min_hdr_ratio = "1";
          max_hdr_ratio = "1";
          framerate_factor = "1000000";
          min_framerate = "0";
          max_framerate = "40954095";
          step_framerate = "1";
          default_framerate = "0";
          exposure_factor = "1000000";
          min_exp_time = "0";                         /* us 1 line */
          max_exp_time = "40954095";
          step_exp_time = "1";
          default_exp_time = "0";                 /* us */
          embedded_metadata_height = "0";
        };

        ports {
          #address-cells = <1>;
          #size-cells = <0>;
          port@0 {
            reg = <0>;
            imx490_out5: endpoint {
              vc-id = <1>;
              port-index = <4>;
              bus-width = <4>;
              remote-endpoint = <&csi_in5>;
            };
          };
        };
        gmsl-link {
          src-csi-port = "b";     /* Port at which sensor is connected to its serializer device. */
          dst-csi-port = "a";     /* Destination CSI port on the Jetson side, connected at deserializer. */
           serdes-csi-link = "b";  /* GMSL link sensor/serializer connected */
          csi-mode = "1x4";       /*  to sensor CSI mode. */
          st-vc = <0>;            /* Sensor source default VC ID: 0 unless overridden by sensor. */
          vc-id = <1>;            /* Destination VC ID, assigned to sensor stream by deserializer. */
          num-lanes = <4>;        /* Number of CSI lanes used. */
          streams = "ued-u1","yuv8"; /* Types of streams sensor is streaming. */
        };
      };
      imx490_e@2b {
        compatible = "nvidia,tier4_imx490";
        def-addr = <0x1a>;
        // clocks = <&bpmp_clks 36>, <&bpmp_clks 36>;
        clock-names = "extperiph1", "pllp_grtba";
        mclk = "extperiph1";
        nvidia,isp-device = <&isp_r>;           // for C2 camera
        nvidia,gmsl-ser-device = <&ser>;
        nvidia,gmsl-dser-device = <&dser>;
        nvidia,fpga-device  = <&t4_fpga>;

        reg = <0x2b>;

        /* Physical dimensions of sensor */
        physical_w = "15.0";
        physical_h = "12.5";
        reg_mux = <2>;


        sensor_model ="imx490";

        fsync-mode = "false";

        distortion-correction = "false";

        auto-exposure = "true";

        /* Defines number of frames to be dropped by driver internally after applying */
        /* sensor crop settings. Some sensors send corrupt frames after applying */
        /* crop co-ordinates */
        post_crop_frame_drop = "0";

        /* Convert Gain to unit of dB (decibel) befor passing to kernel driver */
        use_decibel_gain = "true";

        /* enable CID_SENSOR_MODE_ID for sensor modes selection */
        use_sensor_mode_id = "true";

        mode0 {/*mode IMX490_MODE_2880X1860_CROP_30FPS*/
          mclk_khz = "24000";
          num_lanes = "4";
          tegra_sinterface = "serial_e";
          vc_id = "0";
          discontinuous_clk = "no";
          dpcm_enable = "false";
          cil_settletime = "0";
          dynamic_pixel_bit_depth = "16";
          csi_pixel_bit_depth = "16";
          mode_type = "yuv";
          pixel_phase = "uyvy";
        
          active_w = "2880";
          active_h = "1860";
          readout_orientation = "0";
          line_length = "2250";
          inherent_gain = "1";
          pix_clk_hz = "160704000";
          serdes_pix_clk_hz = "375000000";    // MIPI CSI clock 1500Mhz

          gain_factor = "5";
          min_gain_val = "0";                         /* dB */
          max_gain_val = "300";                       /* dB */
          step_gain_val = "1";                        /* 0.3 */
          default_gain = "0";
          min_hdr_ratio = "1";
          max_hdr_ratio = "1";
          framerate_factor = "1000000";
          min_framerate = "0";
          max_framerate = "40954095";
          step_framerate = "1";
          default_framerate = "0";
          exposure_factor = "1000000";
          min_exp_time = "0";                         /* us 1 line */
          max_exp_time = "40954095";
          step_exp_time = "1";
          default_exp_time = "0";                 /* us */
          embedded_metadata_height = "0";
        };

        ports {
          #address-cells = <1>;
          #size-cells = <0>;
          port@0 {
            reg = <0>;
            imx490_out4: endpoint {
              vc-id = <0>;
              port-index = <4>;
              bus-width = <4>;
              remote-endpoint = <&csi_in4>;
            };
          };
        };
        gmsl-link {
          src-csi-port = "b";     /* Port at which sensor is connected to its serializer device. */
          dst-csi-port = "a";     /* Destination CSI port on the Jetson side, connected at deserializer. */
          serdes-csi-link = "a";  /* GMSL link sensor/serializer connected */
          csi-mode = "1x4";       /*  to sensor CSI mode. */
          st-vc = <0>;            /* Sensor source default VC ID: 0 unless overridden by sensor. */
          vc-id = <0>;            /* Destination VC ID, assigned to sensor stream by deserializer. */
          num-lanes = <4>;        /* Number of CSI lanes used. */
          streams = "ued-u1","yuv8"; /* Types of streams sensor is streaming. */
        };
      };
    };
  };
  fragment@94{
    //cami2c/i2c@3
    target-path = "/i2c@c250000/tca9546@70/i2c@3";
    __overlay__ {
      i2c-mux,deselect-on-exit;
      #address-cells = <1>;
      #size-cells = <0>;
      status = "okay";

      reg = <3>;

      dser_3: max9296@48 {
        compatible = "nvidia,tier4_max9296";
        reg = <0x48>;
        status = "okay";
        csi-mode = "2x4";
        max-src = <2>;
        //reset-gpios = <&tegra_main_gpio CAM0_PWDN GPIO_ACTIVE_HIGH>;
        //reset-gpios = <&tegra_main_gpio 0x3E 0x0>;
      };

      max9295_prim@62 {
        compatible = "nvidia,tier4_max9295";
        status = "okay";
        reg = <0x62>;
        is-prim-ser;
      };
      max9295_ser_d_0: max9295_a@42 {
        compatible = "nvidia,tier4_max9295";
        reg = <0x42>;
        nvidia,gmsl-dser-device = <&dser_3>;
      };

      max9295_ser_d_1: max9295_b@60 {
        compatible = "nvidia,tier4_max9295";
        status = "okay";
        reg = <0x60>;
        nvidia,gmsl-dser-device = <&dser_3>;
      };

      gw5300_prim@6d {
          compatible = "nvidia,tier4_gw5300";
          reg = <0x6d>;
          is-prim-isp;
      };

      isp_g: gw5300_a@6e {
          compatible = "nvidia,tier4_gw5300";
          reg = <0x6e>;
      };

      isp_h: gw5300_b@6f {
          compatible = "nvidia,tier4_gw5300";
          reg = <0x6f>;
      };

      imx490_h@2c {
        compatible = "nvidia,tier4_imx490";
        def-addr = <0x1a>;
        // clocks = <&bpmp_clks 36>, <&bpmp_clks 36>;
        clock-names = "extperiph1", "pllp_grtba";
        mclk = "extperiph1";
        nvidia,isp-device = <&isp_h>;           // for C2 camera
        nvidia,gmsl-ser-device = <&ser>;
        nvidia,gmsl-dser-device = <&dserc>;
        nvidia,fpga-device  = <&t4_fpga>;

        reg = <0x2c>;

        /* Physical dimensions of sensor */
        physical_w = "15.0";
        physical_h = "12.5";
        reg_mux = <3>;


        sensor_model ="imx490";

        fsync-mode = "false";

        distortion-correction = "false";

        auto-exposure = "true";

        /* Defines number of frames to be dropped by driver internally after applying */
        /* sensor crop settings. Some sensors send corrupt frames after applying */
        /* crop co-ordinates */
        post_crop_frame_drop = "0";

        /* Convert Gain to unit of dB (decibel) befor passing to kernel driver */
        use_decibel_gain = "true";

        /* enable CID_SENSOR_MODE_ID for sensor modes selection */
        use_sensor_mode_id = "true";

        mode0 {/*mode IMX490_MODE_2880X1860_CROP_30FPS*/
          mclk_khz = "24000";
          num_lanes = "4";
          tegra_sinterface = "serial_g";
          vc_id = "1";
          discontinuous_clk = "no";
          dpcm_enable = "false";
          cil_settletime = "0";
          dynamic_pixel_bit_depth = "16";
          csi_pixel_bit_depth = "16";
          mode_type = "yuv";
          pixel_phase = "uyvy";
        
          active_w = "2880";
          active_h = "1860";
          readout_orientation = "0";
          line_length = "2250";
          inherent_gain = "1";
          pix_clk_hz = "160704000";
          serdes_pix_clk_hz = "375000000";    // MIPI CSI clock 1500Mhz

          gain_factor = "5";
          min_gain_val = "0";                         /* dB */
          max_gain_val = "300";                       /* dB */
          step_gain_val = "1";                        /* 0.3 */
          default_gain = "0";
          min_hdr_ratio = "1";
          max_hdr_ratio = "1";
          framerate_factor = "1000000";
          min_framerate = "0";
          max_framerate = "40954095";
          step_framerate = "1";
          default_framerate = "0";
          exposure_factor = "1000000";
          min_exp_time = "0";                         /* us 1 line */
          max_exp_time = "40954095";
          step_exp_time = "1";
          default_exp_time = "0";                 /* us */
          embedded_metadata_height = "0";
        };

        ports {
          #address-cells = <1>;
          #size-cells = <0>;
          port@0 {
            reg = <0>;
            imx490_out7: endpoint {
              vc-id = <1>;
              port-index = <6>;
              bus-width = <4>;
              remote-endpoint = <&csi_in7>;
            };
          };
        };
        gmsl-link {
          src-csi-port = "b";     /* Port at which sensor is connected to its serializer device. */
          dst-csi-port = "a";     /* Destination CSI port on the Jetson side, connected at deserializer. */
           serdes-csi-link = "b";  /* GMSL link sensor/serializer connected */
          csi-mode = "1x4";       /*  to sensor CSI mode. */
          st-vc = <0>;            /* Sensor source default VC ID: 0 unless overridden by sensor. */
          vc-id = <1>;            /* Destination VC ID, assigned to sensor stream by deserializer. */
          num-lanes = <4>;        /* Number of CSI lanes used. */
          streams = "ued-u1","yuv8"; /* Types of streams sensor is streaming. */
        };
      };
      imx490_g@2b {
        compatible = "nvidia,tier4_imx490";
        def-addr = <0x1a>;
        // clocks = <&bpmp_clks 36>, <&bpmp_clks 36>;
        clock-names = "extperiph1", "pllp_grtba";
        mclk = "extperiph1";
        nvidia,isp-device = <&isp_g>;           // for C2 camera
        nvidia,gmsl-ser-device = <&ser>;
        nvidia,gmsl-dser-device = <&dserc>;
        nvidia,fpga-device  = <&t4_fpga>;

        reg = <0x2b>;

        /* Physical dimensions of sensor */
        physical_w = "15.0";
        physical_h = "12.5";
        reg_mux = <3>;


        sensor_model ="imx490";

        fsync-mode = "false";

        distortion-correction = "false";

        auto-exposure = "true";

        /* Defines number of frames to be dropped by driver internally after applying */
        /* sensor crop settings. Some sensors send corrupt frames after applying */
        /* crop co-ordinates */
        post_crop_frame_drop = "0";

        /* Convert Gain to unit of dB (decibel) befor passing to kernel driver */
        use_decibel_gain = "true";

        /* enable CID_SENSOR_MODE_ID for sensor modes selection */
        use_sensor_mode_id = "true";

        mode0 {/*mode IMX490_MODE_2880X1860_CROP_30FPS*/
          mclk_khz = "24000";
          num_lanes = "4";
          tegra_sinterface = "serial_g";
          vc_id = "0";
          discontinuous_clk = "no";
          dpcm_enable = "false";
          cil_settletime = "0";
          dynamic_pixel_bit_depth = "16";
          csi_pixel_bit_depth = "16";
          mode_type = "yuv";
          pixel_phase = "uyvy";
        
          active_w = "2880";
          active_h = "1860";
          readout_orientation = "0";
          line_length = "2250";
          inherent_gain = "1";
          pix_clk_hz = "160704000";
          serdes_pix_clk_hz = "375000000";    // MIPI CSI clock 1500Mhz

          gain_factor = "5";
          min_gain_val = "0";                         /* dB */
          max_gain_val = "300";                       /* dB */
          step_gain_val = "1";                        /* 0.3 */
          default_gain = "0";
          min_hdr_ratio = "1";
          max_hdr_ratio = "1";
          framerate_factor = "1000000";
          min_framerate = "0";
          max_framerate = "40954095";
          step_framerate = "1";
          default_framerate = "0";
          exposure_factor = "1000000";
          min_exp_time = "0";                         /* us 1 line */
          max_exp_time = "40954095";
          step_exp_time = "1";
          default_exp_time = "0";                 /* us */
          embedded_metadata_height = "0";
        };

        ports {
          #address-cells = <1>;
          #size-cells = <0>;
          port@0 {
            reg = <0>;
            imx490_out6: endpoint {
              vc-id = <0>;
              port-index = <6>;
              bus-width = <4>;
              remote-endpoint = <&csi_in6>;
            };
          };
        };
        gmsl-link {
          src-csi-port = "b";     /* Port at which sensor is connected to its serializer device. */
          dst-csi-port = "a";     /* Destination CSI port on the Jetson side, connected at deserializer. */
          serdes-csi-link = "a";  /* GMSL link sensor/serializer connected */
          csi-mode = "1x4";       /*  to sensor CSI mode. */
          st-vc = <0>;            /* Sensor source default VC ID: 0 unless overridden by sensor. */
          vc-id = <0>;            /* Destination VC ID, assigned to sensor stream by deserializer. */
          num-lanes = <4>;        /* Number of CSI lanes used. */
          streams = "ued-u1","yuv8"; /* Types of streams sensor is streaming. */
        };
      };
    };
  };

// -----  FPGA -----

  fragment@100{
    target-path = "/i2c@3180000";
    __overlay__ {
     t4_fpga: tier4_fpga@66 {
        compatible = "nvidia,tier4_fpga";
        reg = <0x66>;
        status = "okay";
      };
    };
  };

};

